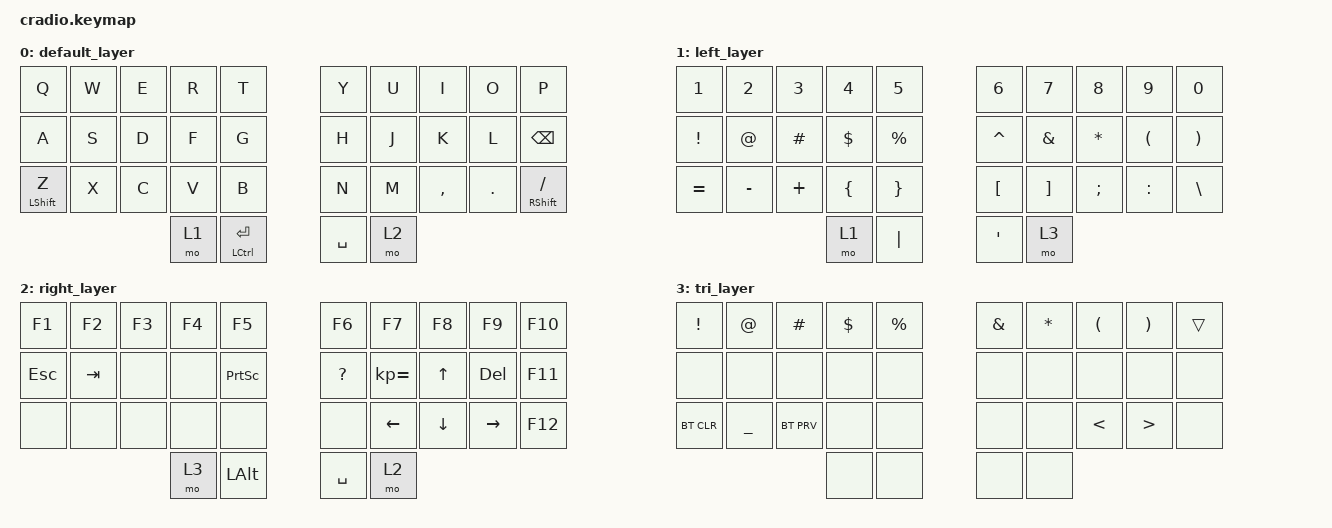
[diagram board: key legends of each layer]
/*
 * Copyright (c) 2020 The ZMK Contributors
 *
 * SPDX-License-Identifier: MIT
 */

#include <behaviors.dtsi>
#include <dt-bindings/zmk/keys.h>
#include <dt-bindings/zmk/bt.h>


&mt {
  //  flavor = "tap-preferred";
   // tapping_term_ms = <200>;
};

/ { 

    combos {
        compatible = "zmk,combos";

    };

        keymap {
                compatible = "zmk,keymap";

       		default_layer {
		bindings = <
	    &kp Q &kp W &kp E &kp R &kp T 						&kp Y &kp U  &kp I    &kp O   &kp P
		&kp A &kp S &kp D &kp F &kp G 			        	        &kp H &kp J &kp K &kp L &kp BACKSPACE
		&mt LEFT_SHIFT Z &kp X &kp C &kp V &kp B				        &kp N &kp M  &kp CMMA &kp DOT &mt RIGHT_SHIFT SLASH
          				&mo 1 &mt LEFT_CONTROL ENTER 				&kp SPC &mo 2
		>;
		};

       		left_layer {
		bindings = <
		&kp NUM_1  &kp NUM_2    &kp NUM_3    &kp NUM_4    &kp NUM_5		&kp NUM_6 &kp NUM_7 &kp NUM_8 &kp NUM_9 &kp NUM_0
		&kp EXCLAMATION    &kp AT_SIGN    &kp HASH      &kp DOLLAR     &kp PERCENT 		&kp CARET &kp AMPERSAND  &kp ASTERISK &kp LEFT_PARENTHESIS  &kp RIGHT_PARENTHESIS
		&kp EQUAL    &kp MINUS 	&kp PLUS &kp LEFT_BRACE  &kp RIGHT_BRACE 	&kp LEFT_BRACKET &kp RIGHT_BRACKET &kp SEMICOLON &kp COLON  &kp BACKSLASH
					    &mo 1  &kp PIPE  					&kp APOSTROPHE &mo 3
		>;
		};

		right_layer {
		bindings = <
        &kp F1  &kp F2 &kp F3  &kp F4  &kp F5    			&kp F6  &kp F7 &kp F8 &kp F9 &kp F10
		&kp ESCAPE  &kp TAB  &none   &none   &kp PRINTSCREEN 			&kp QUESTION &kp KP_EQUAL  &kp UP_ARROW  &kp DELETE   &kp F11
		&none  &none &none &none   &none    			&none &kp LEFT_ARROW &kp DOWN_ARROW &kp RIGHT_ARROW  &kp F12
					  &mo 3 &kp LALT  				&kp SPC  &mo 2
		>;
		};

        	

		tri_layer {
		bindings = <
        &kp EXCLAMATION  &kp AT_SIGN    &kp HASH    &kp DOLLAR    &kp PERCENT 			&kp AMPERSAND &kp ASTERISK   &kp LEFT_PARENTHESIS   &kp RIGHT_PARENTHESIS  &trans
		&none &none &none &none &none  						&none &none  &none &none &none
		&bt BT_CLR  &kp UNDERSCORE &bt BT_PRV &none &none   				&none &none  &kp LESS_THAN  &kp GREATER_THAN &none
					 &none &none  					&none &none
		>;
		};	

	};
};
